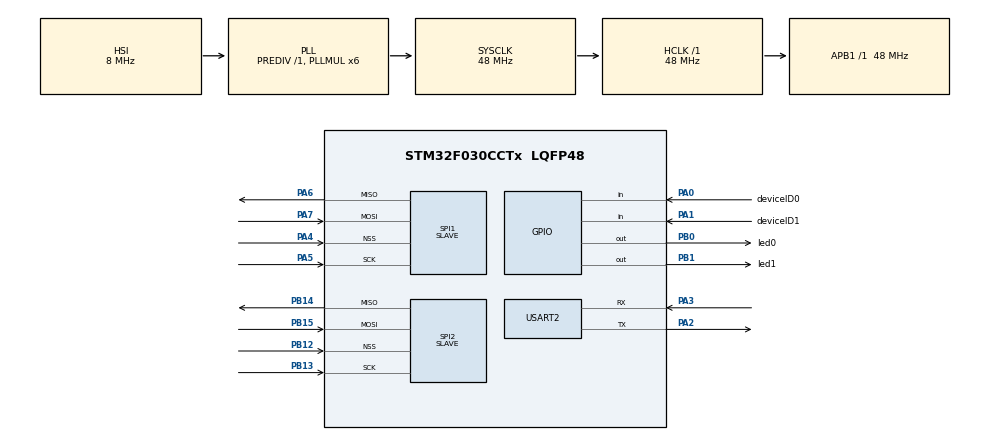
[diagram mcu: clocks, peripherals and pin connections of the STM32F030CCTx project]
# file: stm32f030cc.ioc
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Mcu.Family=STM32F0
PA6.Mode=Full_Duplex_Slave
Dma.SPI1_TX.0.MemInc=DMA_MINC_ENABLE
SPI2.VirtualNSS=VM_NSSHARD
Dma.SPI1_TX.0.PeriphInc=DMA_PINC_DISABLE
SPI1.VirtualType=VM_SLAVE
SPI2.VirtualType=VM_SLAVE
PA0.GPIO_Label=deviceID0
Dma.SPI2_TX.1.PeriphInc=DMA_PINC_DISABLE
PB0.GPIO_Label=led0
SPI1.TIMode=SPI_TIMODE_DISABLE
PB13.Signal=SPI2_SCK
PB15.Signal=SPI2_MOSI
RCC.SYSCLKSource=RCC_SYSCLKSOURCE_PLLCLK
ProjectManager.StackSize=0x400
PA4.Mode=NSS_Signal_Hard_Input
SPI1.Direction=SPI_DIRECTION_2LINES
RCC.HCLKFreq_Value=48000000
Dma.SPI2_RX.3.Priority=DMA_PRIORITY_HIGH
RCC.AHBFreq_Value=48000000
USART2.VirtualMode-Asynchronous=VM_ASYNC
RCC.PLLMUL=RCC_PLL_MUL6
Dma.SPI1_RX.2.Direction=DMA_PERIPH_TO_MEMORY
Dma.SPI1_RX.2.MemDataAlignment=DMA_MDATAALIGN_BYTE
PA14.Mode=Serial_Wire
PB14.Mode=Full_Duplex_Slave
VP_SYS_VS_tim1.Mode=TIM1
PB1.GPIO_Label=led1
Dma.SPI2_RX.3.PeriphDataAlignment=DMA_PDATAALIGN_BYTE
SPI1.DataSize=SPI_DATASIZE_8BIT
SPI1.VirtualNSS=VM_NSSHARD
VP_FREERTOS_VS_CMSIS_V1.Mode=CMSIS_V1
FREERTOS.configTOTAL_HEAP_SIZE=8192
PA0.Signal=GPIO_Input
Dma.SPI1_TX.0.Mode=DMA_NORMAL
Mcu.Package=LQFP48
PB1.Signal=GPIO_Output
PA6.Signal=SPI1_MISO
PB12.Mode=NSS_Signal_Hard_Input
Dma.SPI2_TX.1.Mode=DMA_NORMAL
NVIC.TimeBase=TIM1_BRK_UP_TRG_COM_IRQn
SPI2.Mode=SPI_MODE_SLAVE
NVIC.TimeBaseIP=TIM1
Dma.SPI2_TX.1.Instance=DMA1_Channel5
Dma.SPI2_RX.3.Mode=DMA_NORMAL
Dma.Request2=SPI1_RX
Dma.SPI1_RX.2.Priority=DMA_PRIORITY_HIGH
Dma.Request1=SPI2_TX
RCC.APB1TimFreq_Value=48000000
Dma.Request3=SPI2_RX
Dma.SPI1_RX.2.Mode=DMA_NORMAL
Dma.SPI2_RX.3.PeriphInc=DMA_PINC_DISABLE
SPI2.Direction=SPI_DIRECTION_2LINES
PB13.Mode=Full_Duplex_Slave
Dma.Request0=SPI1_TX
PA3.Signal=USART2_RX
PA5.Mode=Full_Duplex_Slave
Dma.SPI2_TX.1.MemInc=DMA_MINC_ENABLE
FREERTOS.Tasks01=defaultTask,0,128,StartDefaultTask,Default,NULL,Dynamic,NULL,NULL;ledTask,0,128,ledFunc,Default,NULL,Dynamic,NULL,NULL;spiRecTask,2,512,spiRecFunc,Default,NULL,Dynamic,NULL,NULL;spiTraTask,1,512,spiTraFunc,Default,NULL,Dynamic,NULL,NULL
PA7.Mode=Full_Duplex_Slave
Dma.SPI2_RX.3.MemDataAlignment=DMA_MDATAALIGN_BYTE
Dma.SPI1_RX.2.Instance=DMA1_Channel2
Dma.SPI2_RX.3.MemInc=DMA_MINC_ENABLE
PA13.Signal=SYS_SWDIO
PA3.Mode=Asynchronous
ProjectManager.TargetToolchain=Makefile
Dma.SPI1_TX.0.PeriphDataAlignment=DMA_PDATAALIGN_BYTE
Dma.SPI1_TX.0.Direction=DMA_MEMORY_TO_PERIPH
PA1.Signal=GPIO_Input
PB14.Signal=SPI2_MISO
PA5.Signal=SPI1_SCK
board=custom
Dma.SPI2_TX.1.Direction=DMA_MEMORY_TO_PERIPH
Dma.SPI2_RX.3.Instance=DMA1_Channel4
PB15.Mode=Full_Duplex_Slave
NVIC.DMA1_Channel4_5_IRQn=true\:3\:0\:false\:false\:true\:true\:false\:true
SPI1.CRCCalculation=SPI_CRCCALCULATION_DISABLE
Dma.SPI2_TX.1.PeriphDataAlignment=DMA_PDATAALIGN_BYTE
SPI1.Mode=SPI_MODE_SLAVE
Dma.SPI2_TX.1.Priority=DMA_PRIORITY_MEDIUM
PA1.GPIO_Label=deviceID1
Dma.SPI1_TX.0.Instance=DMA1_Channel3
PA13.Mode=Serial_Wire
Mcu.Name=STM32F030CCTx
Dma.SPI1_RX.2.PeriphDataAlignment=DMA_PDATAALIGN_BYTE
PA2.Signal=USART2_TX
Dma.SPI1_RX.2.MemInc=DMA_MINC_ENABLE
PA4.Signal=SPI1_NSS
RCC.SYSCLKFreq_VALUE=48000000
PA14.Signal=SYS_SWCLK
ProjectManager.HeapSize=0x200
Dma.SPI1_TX.0.Priority=DMA_PRIORITY_MEDIUM
Dma.SPI1_TX.0.MemDataAlignment=DMA_MDATAALIGN_BYTE
NVIC.DMA1_Channel2_3_IRQn=true\:3\:0\:false\:false\:true\:true\:false\:true
PA2.Mode=Asynchronous
SPI2.DataSize=SPI_DATASIZE_8BIT
RCC.APB1Freq_Value=48000000
PB0.Signal=GPIO_Output
Dma.SPI1_RX.2.PeriphInc=DMA_PINC_DISABLE
NVIC.TIM1_BRK_UP_TRG_COM_IRQn=true\:0\:0\:false\:false\:true\:false\:false\:true
Dma.SPI2_TX.1.MemDataAlignment=DMA_MDATAALIGN_BYTE
Dma.SPI2_RX.3.Direction=DMA_PERIPH_TO_MEMORY
PB12.Signal=SPI2_NSS
PA7.Signal=SPI1_MOSI

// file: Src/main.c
/* USER CODE BEGIN Header */
/**
  ******************************************************************************
  * @file           : main.c
  * @brief          : Main program body
  ******************************************************************************
  * @attention
  *
  * <h2><center>&copy; Copyright (c) 2019 STMicroelectronics.
  * All rights reserved.</center></h2>
  *
  * This software component is licensed by ST under Ultimate Liberty license
  * SLA0044, the "License"; You may not use this file except in compliance with
  * the License. You may obtain a copy of the License at:
  *                             www.st.com/SLA0044
  *
  ******************************************************************************
  */
/* USER CODE END Header */

#include "main.h"
#include "cmsis_os.h"

/* USER CODE BEGIN Includes */
#include "stdio.h"
#include "string.h"
#include "stdlib.h"
#include  <errno.h>
#include  <sys/unistd.h> // STDOUT_FILENO, STDERR_FILENO
#include "colors.h"
/* USER CODE END Includes */

/* USER CODE BEGIN PD */
#define MESSAGE_SIZE 2048

/* USER CODE END PD */

SPI_HandleTypeDef hspi1;
SPI_HandleTypeDef hspi2;
DMA_HandleTypeDef hdma_spi1_tx;
DMA_HandleTypeDef hdma_spi1_rx;
DMA_HandleTypeDef hdma_spi2_tx;
DMA_HandleTypeDef hdma_spi2_rx;

UART_HandleTypeDef huart2;

osThreadId defaultTaskHandle;
osThreadId ledTaskHandle;
osThreadId spiRecTaskHandle;
osThreadId spiTraTaskHandle;
/* USER CODE BEGIN PV */
uint16_t deviceID=0;
uint8_t data[MESSAGE_SIZE];
uint8_t senddata[MESSAGE_SIZE];
uint8_t sendcomplete;
uint8_t receivecomplete;
/* USER CODE END PV */

void SystemClock_Config(void);
static void MX_GPIO_Init(void);
static void MX_DMA_Init(void);
static void MX_SPI1_Init(void);
static void MX_SPI2_Init(void);
static void MX_USART2_UART_Init(void);
void StartDefaultTask(void const * argument);
void ledFunc(void const * argument);
void spiRecFunc(void const * argument);
void spiTraFunc(void const * argument);

/* USER CODE BEGIN 0 */
/* Private function prototypes -----------------------------------------------*/
int _write(int file, char *data, int len){
    if ((file != STDOUT_FILENO) && (file != STDERR_FILENO)){
        errno = EBADF;
        return -1;
    }

    // arbitrary timeout 1
    HAL_StatusTypeDef status = HAL_OK;
    status = HAL_UART_Transmit(&huart2, (uint8_t*)data, len, 100);

    // return # of bytes written - as best we can tell
    return (status == HAL_OK ? len : 0);
}
/* USER CODE END 0 */

int main(void)
{

  /* MCU Configuration--------------------------------------------------------*/

  /* Reset of all peripherals, Initializes the Flash interface and the Systick. */
  HAL_Init();

  /* Configure the system clock */
  SystemClock_Config();

  /* Initialize all configured peripherals */
  MX_GPIO_Init();
  MX_DMA_Init();
  MX_SPI1_Init();
  MX_SPI2_Init();
  MX_USART2_UART_Init();
  /* USER CODE BEGIN 2 */
  printf("\n\n\r+++++++++++++++++++++++++++++++++++++++\n");
  printf("\rBuild: %s - %s\n", __DATE__, __TIME__);
  printf("\r%sInit done!\n", CRST);

  if(HAL_GPIO_ReadPin(GPIOA, GPIO_PIN_0)){
    printf("\rGPIO_PIN_A05 is high\n");
    deviceID += 2;
  }
  if(HAL_GPIO_ReadPin(GPIOA, GPIO_PIN_1)){
    printf("\rGPIO_PIN_A06 is high\n");
    deviceID += 1;
  }
  if((deviceID == 0) || (deviceID == 3)){
    while(1){
      printf("\rError: No resistors for device codeing?!\n");
      HAL_Delay(100);
    }
  }

  printf("\rDeviceID: %u\n", (unsigned int)deviceID);
  printf("\rDeviceSE: %u\n", (unsigned int)HAL_GetDEVID);
  /* USER CODE END 2 */

  /* Create the thread(s) */
  /* definition and creation of defaultTask */
  osThreadDef(defaultTask, StartDefaultTask, osPriorityNormal, 0, 128);
  defaultTaskHandle = osThreadCreate(osThread(defaultTask), NULL);

  /* definition and creation of ledTask */
  osThreadDef(ledTask, ledFunc, osPriorityNormal, 0, 128);
  ledTaskHandle = osThreadCreate(osThread(ledTask), NULL);

  /* definition and creation of spiRecTask */
  osThreadDef(spiRecTask, spiRecFunc, osPriorityHigh, 0, 512);
  spiRecTaskHandle = osThreadCreate(osThread(spiRecTask), NULL);

  /* definition and creation of spiTraTask */
  osThreadDef(spiTraTask, spiTraFunc, osPriorityAboveNormal, 0, 512);
  spiTraTaskHandle = osThreadCreate(osThread(spiTraTask), NULL);

  /* Start scheduler */
  osKernelStart();

  /* We should never get here as control is now taken by the scheduler */
  /* Infinite loop */
  while (1)
  {

  }
}

void SystemClock_Config(void)
{
  RCC_OscInitTypeDef RCC_OscInitStruct = {0};
  RCC_ClkInitTypeDef RCC_ClkInitStruct = {0};

  /** Initializes the CPU, AHB and APB busses clocks
  */
  RCC_OscInitStruct.OscillatorType = RCC_OSCILLATORTYPE_HSI;
  RCC_OscInitStruct.HSIState = RCC_HSI_ON;
  RCC_OscInitStruct.HSICalibrationValue = RCC_HSICALIBRATION_DEFAULT;
  RCC_OscInitStruct.PLL.PLLState = RCC_PLL_ON;
  RCC_OscInitStruct.PLL.PLLSource = RCC_PLLSOURCE_HSI;
  RCC_OscInitStruct.PLL.PLLMUL = RCC_PLL_MUL6;
  RCC_OscInitStruct.PLL.PREDIV = RCC_PREDIV_DIV1;
  if (HAL_RCC_OscConfig(&RCC_OscInitStruct) != HAL_OK)
  {
    Error_Handler();
  }
  /** Initializes the CPU, AHB and APB busses clocks
  */
  RCC_ClkInitStruct.ClockType = RCC_CLOCKTYPE_HCLK|RCC_CLOCKTYPE_SYSCLK
                              |RCC_CLOCKTYPE_PCLK1;
  RCC_ClkInitStruct.SYSCLKSource = RCC_SYSCLKSOURCE_PLLCLK;
  RCC_ClkInitStruct.AHBCLKDivider = RCC_SYSCLK_DIV1;
  RCC_ClkInitStruct.APB1CLKDivider = RCC_HCLK_DIV1;

  if (HAL_RCC_ClockConfig(&RCC_ClkInitStruct, FLASH_LATENCY_1) != HAL_OK)
  {
    Error_Handler();
  }
}

static void MX_SPI1_Init(void)
{

  /* SPI1 parameter configuration*/
  hspi1.Instance = SPI1;
  hspi1.Init.Mode = SPI_MODE_SLAVE;
  hspi1.Init.Direction = SPI_DIRECTION_2LINES;
  hspi1.Init.DataSize = SPI_DATASIZE_8BIT;
  hspi1.Init.CLKPolarity = SPI_POLARITY_LOW;
  hspi1.Init.CLKPhase = SPI_PHASE_1EDGE;
  hspi1.Init.NSS = SPI_NSS_HARD_INPUT;
  hspi1.Init.FirstBit = SPI_FIRSTBIT_MSB;
  hspi1.Init.TIMode = SPI_TIMODE_DISABLE;
  hspi1.Init.CRCCalculation = SPI_CRCCALCULATION_DISABLE;
  hspi1.Init.CRCPolynomial = 7;
  hspi1.Init.CRCLength = SPI_CRC_LENGTH_DATASIZE;
  hspi1.Init.NSSPMode = SPI_NSS_PULSE_DISABLE;
  if (HAL_SPI_Init(&hspi1) != HAL_OK)
  {
    Error_Handler();
  }

}

static void MX_SPI2_Init(void)
{

  /* SPI2 parameter configuration*/
  hspi2.Instance = SPI2;
  hspi2.Init.Mode = SPI_MODE_SLAVE;
  hspi2.Init.Direction = SPI_DIRECTION_2LINES;
  hspi2.Init.DataSize = SPI_DATASIZE_8BIT;
  hspi2.Init.CLKPolarity = SPI_POLARITY_LOW;
  hspi2.Init.CLKPhase = SPI_PHASE_1EDGE;
  hspi2.Init.NSS = SPI_NSS_HARD_INPUT;
  hspi2.Init.FirstBit = SPI_FIRSTBIT_MSB;
  hspi2.Init.TIMode = SPI_TIMODE_DISABLE;
  hspi2.Init.CRCCalculation = SPI_CRCCALCULATION_DISABLE;
  hspi2.Init.CRCPolynomial = 7;
  hspi2.Init.CRCLength = SPI_CRC_LENGTH_DATASIZE;
  hspi2.Init.NSSPMode = SPI_NSS_PULSE_DISABLE;
  if (HAL_SPI_Init(&hspi2) != HAL_OK)
  {
    Error_Handler();
  }

}

static void MX_USART2_UART_Init(void)
{

  huart2.Instance = USART2;
  huart2.Init.BaudRate = 115200;
  huart2.Init.WordLength = UART_WORDLENGTH_8B;
  huart2.Init.StopBits = UART_STOPBITS_1;
  huart2.Init.Parity = UART_PARITY_NONE;
  huart2.Init.Mode = UART_MODE_TX_RX;
  huart2.Init.HwFlowCtl = UART_HWCONTROL_NONE;
  huart2.Init.OverSampling = UART_OVERSAMPLING_16;
  huart2.Init.OneBitSampling = UART_ONE_BIT_SAMPLE_DISABLE;
  huart2.AdvancedInit.AdvFeatureInit = UART_ADVFEATURE_NO_INIT;
  if (HAL_UART_Init(&huart2) != HAL_OK)
  {
    Error_Handler();
  }

}

static void MX_DMA_Init(void)
{

  /* DMA controller clock enable */
  __HAL_RCC_DMA1_CLK_ENABLE();

  /* DMA interrupt init */
  /* DMA1_Channel2_3_IRQn interrupt configuration */
  HAL_NVIC_SetPriority(DMA1_Channel2_3_IRQn, 3, 0);
  HAL_NVIC_EnableIRQ(DMA1_Channel2_3_IRQn);
  /* DMA1_Channel4_5_IRQn interrupt configuration */
  HAL_NVIC_SetPriority(DMA1_Channel4_5_IRQn, 3, 0);
  HAL_NVIC_EnableIRQ(DMA1_Channel4_5_IRQn);

}

static void MX_GPIO_Init(void)
{
  GPIO_InitTypeDef GPIO_InitStruct = {0};

  /* GPIO Ports Clock Enable */
  __HAL_RCC_GPIOA_CLK_ENABLE();
  __HAL_RCC_GPIOB_CLK_ENABLE();

  /*Configure GPIO pin Output Level */
  HAL_GPIO_WritePin(GPIOB, led0_Pin|led1_Pin, GPIO_PIN_RESET);

  /*Configure GPIO pins : deviceID0_Pin deviceID1_Pin */
  GPIO_InitStruct.Pin = deviceID0_Pin|deviceID1_Pin;
  GPIO_InitStruct.Mode = GPIO_MODE_INPUT;
  GPIO_InitStruct.Pull = GPIO_NOPULL;
  HAL_GPIO_Init(GPIOA, &GPIO_InitStruct);

  /*Configure GPIO pins : led0_Pin led1_Pin */
  GPIO_InitStruct.Pin = led0_Pin|led1_Pin;
  GPIO_InitStruct.Mode = GPIO_MODE_OUTPUT_PP;
  GPIO_InitStruct.Pull = GPIO_NOPULL;
  GPIO_InitStruct.Speed = GPIO_SPEED_FREQ_LOW;
  HAL_GPIO_Init(GPIOB, &GPIO_InitStruct);

}

void StartDefaultTask(void const * argument)
{
  /* USER CODE BEGIN 5 */
  osDelay(5);
  printf("\rDefault Task started\n");
  /* Infinite loop */
  for(;;)
  {
    osDelay(100);
  }
  /* USER CODE END 5 */
}

void ledFunc(void const * argument)
{
  /* USER CODE BEGIN ledFunc */
  osDelay(10);
  printf("\rLED Toggle Task started\n");
  /* Infinite loop */
  for(;;)
  {
    HAL_GPIO_TogglePin(led0_GPIO_Port, led0_Pin);
    osDelay(1000);
  }
  /* USER CODE END ledFunc */
}

void spiRecFunc(void const * argument)
{
  /* USER CODE BEGIN spiRecFunc */
  receivecomplete = 0;
  memset(data, 0, MESSAGE_SIZE);
  memset(senddata, 0, MESSAGE_SIZE);
  osDelay(100);
  printf("\rSPI Receive Task started\n");
  /* Infinite loop */
  for(;;)
  {
    osDelay(1);
    memset(data, 0, MESSAGE_SIZE);
    receivecomplete = 0;
    if(deviceID == 1){
      HAL_SPI_Receive_DMA(&hspi1, data, MESSAGE_SIZE);
    }
    else if(deviceID == 2){
      HAL_SPI_Receive_DMA(&hspi2, data, MESSAGE_SIZE);
    }
    else{
      printf("\rERROR: Device ID not specified.\n");
      continue;
    }
    while(receivecomplete == 0){
      // This loop will be executed until data is recieved
      osDelay(10);
    }
    printf("\rReceived: %s\n", data);
    if(data[0] == 't'){
      printf("\rReceived test message, which will be just forwarded.\n");
      HAL_GPIO_TogglePin(led1_GPIO_Port, led1_Pin);
      strncpy((char*)senddata,(char*)data, sizeof(senddata));
    }
    else if(data[0] == 's'){
      printf("\rReceived scan order. Check parameters.\n");
      HAL_GPIO_TogglePin(led1_GPIO_Port, led1_Pin);
      strncpy((char*)senddata,(char*)data, sizeof(senddata));
    }
    else if(data[0] == 'r'){
      printf("\rReceived scan results.\n");
      HAL_GPIO_TogglePin(led1_GPIO_Port, led1_Pin);
      strncpy((char*)senddata,(char*)data, sizeof(senddata));
    }
    else{
      printf("\rNo valid command. Drop message.\n");
    }
  }
  /* USER CODE END spiRecFunc */
}

void spiTraFunc(void const * argument)
{
  /* USER CODE BEGIN spiTraFunc */
  osDelay(200);
  sendcomplete=0;
  printf("\rSPI Transmit Task started\n");
  /* Infinite loop */
  for(;;)
  {
    osDelay(10);
    while(senddata[0] == 0){
      // This loop will be executed until data to send is available
      osDelay(10);
    }
    if(deviceID == 1){
      HAL_SPI_Transmit_DMA(&hspi2, senddata, MESSAGE_SIZE);
    }
    else if(deviceID == 2){
      HAL_SPI_Transmit_DMA(&hspi1, senddata, MESSAGE_SIZE);
    }
    else{
      printf("\rERROR: Device ID not specified.\n");
      continue;
    }
    while(sendcomplete==0){
      // This loop will be executed until data is sent
      osDelay(10);
    }
    osDelay(1000);
    memset(senddata, 0, MESSAGE_SIZE);
  }
  /* USER CODE END spiTraFunc */
}

 /**
  * @brief  Period elapsed callback in non blocking mode
  * @note   This function is called  when TIM1 interrupt took place, inside
  * HAL_TIM_IRQHandler(). It makes a direct call to HAL_IncTick() to increment
  * a global variable "uwTick" used as application time base.
  * @param  htim : TIM handle
  * @retval None
  */
void HAL_TIM_PeriodElapsedCallback(TIM_HandleTypeDef *htim)
{
  if (htim->Instance == TIM1) {
    HAL_IncTick();
  }
}

void Error_Handler(void)
{
}

/************************ (C) COPYRIGHT STMicroelectronics *****END OF FILE****/
